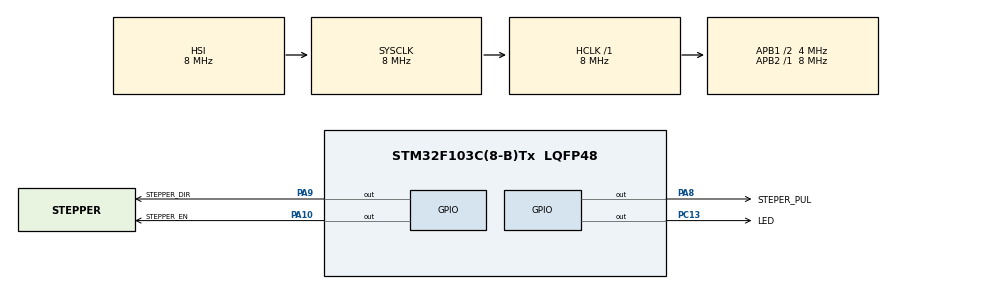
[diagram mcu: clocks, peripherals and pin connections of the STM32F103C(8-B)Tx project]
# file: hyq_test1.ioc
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Mcu.Family=STM32F1
Mcu.Name=STM32F103C(8-B)Tx
Mcu.Package=LQFP48
NVIC.PriorityGroup=NVIC_PRIORITYGROUP_4
NVIC.TIM1_CC_IRQn=true\:0\:0\:false\:false\:true\:true\:true\:true
PA10.GPIO_Label=STEPPER_EN
PA10.Signal=GPIO_Output
PA13.Mode=JTAG_4_pins
PA13.Signal=SYS_JTMS-SWDIO
PA14.Mode=JTAG_4_pins
PA14.Signal=SYS_JTCK-SWCLK
PA15.Mode=JTAG_4_pins
PA15.Signal=SYS_JTDI
PA8.GPIO_Label=STEPER_PUL
PA8.GPIO_Speed=GPIO_SPEED_FREQ_HIGH
PA8.Signal=GPIO_Output
PA9.GPIO_Label=STEPPER_DIR
PA9.Signal=GPIO_Output
PB3.Mode=JTAG_4_pins
PB3.Signal=SYS_JTDO-TRACESWO
PC13-TAMPER-RTC.GPIO_Label=LED
PC13-TAMPER-RTC.PinState=GPIO_PIN_SET
PC13-TAMPER-RTC.Signal=GPIO_Output
ProjectManager.HeapSize=0x200
ProjectManager.StackSize=0x400
ProjectManager.TargetToolchain=MDK-ARM V5
RCC.AHBFreq_Value=8000000
RCC.APB1CLKDivider=RCC_HCLK_DIV2
RCC.APB1Freq_Value=4000000
RCC.APB1TimFreq_Value=8000000
RCC.APB2Freq_Value=8000000
RCC.APB2TimFreq_Value=8000000
RCC.HCLKFreq_Value=8000000
RCC.PLLMUL=RCC_PLL_MUL9
RCC.SYSCLKFreq_VALUE=8000000
RCC.USBFreq_Value=36000000
TIM1.Prescaler=7
VP_TIM1_VS_ClockSourceINT.Mode=Internal
board=custom

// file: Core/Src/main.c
/* USER CODE BEGIN Header */
/**
  ******************************************************************************
  * @file           : main.c
  * @brief          : Main program body
  ******************************************************************************
  * @attention
  *
  * Copyright (c) 2023 STMicroelectronics.
  * All rights reserved.
  *
  * This software is licensed under terms that can be found in the LICENSE file
  * in the root directory of this software component.
  * If no LICENSE file comes with this software, it is provided AS-IS.
  *
  ******************************************************************************
  */
/* USER CODE END Header */
#include "main.h"
#include "tim.h"
#include "gpio.h"

void SystemClock_Config(void);
/* USER CODE BEGIN PFP */
void Tims_delay_us(uint16_t nus);
void stepper(short dir, int speed);
/* USER CODE END PFP */

/* USER CODE BEGIN 0 */
#define Stepper_Forward HAL_GPIO_WritePin(STEPPER_DIR_GPIO_Port, STEPPER_DIR_Pin, GPIO_PIN_SET);
#define Stepper_Backward HAL_GPIO_WritePin(STEPPER_DIR_GPIO_Port, STEPPER_DIR_Pin, GPIO_PIN_RESET);
/* USER CODE END 0 */

int main(void)
{

  /* MCU Configuration--------------------------------------------------------*/

  /* Reset of all peripherals, Initializes the Flash interface and the Systick. */
  HAL_Init();

  /* Configure the system clock */
  SystemClock_Config();

  /* Initialize all configured peripherals */
  MX_GPIO_Init();
  MX_TIM1_Init();

  /* Infinite loop */
  while (1)
  {

    /* USER CODE BEGIN 3 */
		stepper(1, 200);
  }
  /* USER CODE END 3 */
}

void SystemClock_Config(void)
{
  RCC_OscInitTypeDef RCC_OscInitStruct = {0};
  RCC_ClkInitTypeDef RCC_ClkInitStruct = {0};

  /** Initializes the RCC Oscillators according to the specified parameters
  * in the RCC_OscInitTypeDef structure.
  */
  RCC_OscInitStruct.OscillatorType = RCC_OSCILLATORTYPE_HSI;
  RCC_OscInitStruct.HSIState = RCC_HSI_ON;
  RCC_OscInitStruct.HSICalibrationValue = RCC_HSICALIBRATION_DEFAULT;
  RCC_OscInitStruct.PLL.PLLState = RCC_PLL_NONE;
  if (HAL_RCC_OscConfig(&RCC_OscInitStruct) != HAL_OK)
  {
    Error_Handler();
  }

  /** Initializes the CPU, AHB and APB buses clocks
  */
  RCC_ClkInitStruct.ClockType = RCC_CLOCKTYPE_HCLK|RCC_CLOCKTYPE_SYSCLK
                              |RCC_CLOCKTYPE_PCLK1|RCC_CLOCKTYPE_PCLK2;
  RCC_ClkInitStruct.SYSCLKSource = RCC_SYSCLKSOURCE_HSI;
  RCC_ClkInitStruct.AHBCLKDivider = RCC_SYSCLK_DIV1;
  RCC_ClkInitStruct.APB1CLKDivider = RCC_HCLK_DIV2;
  RCC_ClkInitStruct.APB2CLKDivider = RCC_HCLK_DIV1;

  if (HAL_RCC_ClockConfig(&RCC_ClkInitStruct, FLASH_LATENCY_0) != HAL_OK)
  {
    Error_Handler();
  }
}

/* USER CODE BEGIN 4 */

void Tims_delay_us(uint16_t nus)
{
	__HAL_TIM_SET_COUNTER(&htim1, 0);
	__HAL_TIM_ENABLE(&htim1);
	while (__HAL_TIM_GET_COUNTER(&htim1) < nus)
	{
	}
	__HAL_TIM_DISABLE(&htim1);
}

void stepper(short dir, int speed)
{
	if (dir == 1)
	{
		Stepper_Forward;
	} else {
		Stepper_Backward;
	}

	HAL_GPIO_WritePin(STEPER_PUL_GPIO_Port, STEPER_PUL_Pin, GPIO_PIN_SET);
	Tims_delay_us(speed);
	HAL_GPIO_WritePin(STEPER_PUL_GPIO_Port, STEPER_PUL_Pin, GPIO_PIN_RESET);
	Tims_delay_us(speed);
}
/* USER CODE END 4 */

void Error_Handler(void)
{
  __disable_irq();
  while (1)
  {
  }
}
